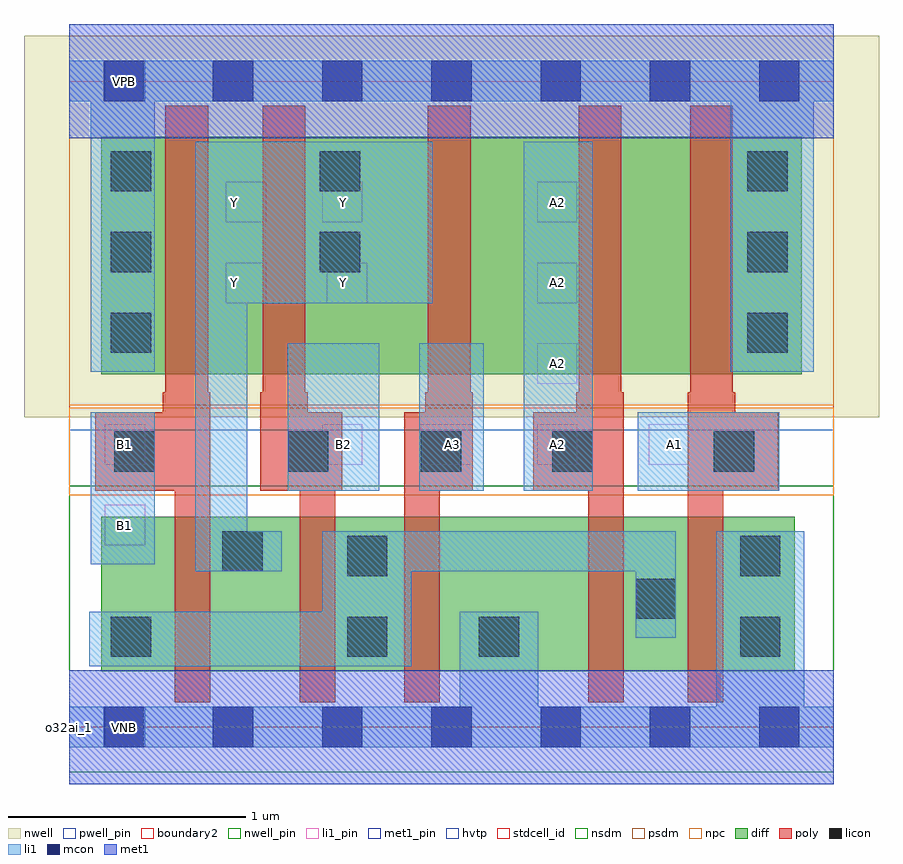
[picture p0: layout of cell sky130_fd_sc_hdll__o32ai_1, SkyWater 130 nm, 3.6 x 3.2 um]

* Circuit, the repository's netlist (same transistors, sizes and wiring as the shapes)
* Copyright 2020 The SkyWater PDK Authors
*
* Licensed under the Apache License, Version 2.0 (the "License");
* you may not use this file except in compliance with the License.
* You may obtain a copy of the License at
*
*     https://www.apache.org/licenses/LICENSE-2.0
*
* Unless required by applicable law or agreed to in writing, software
* distributed under the License is distributed on an "AS IS" BASIS,
* WITHOUT WARRANTIES OR CONDITIONS OF ANY KIND, either express or implied.
* See the License for the specific language governing permissions and
* limitations under the License.
*
* SPDX-License-Identifier: Apache-2.0

.SUBCKT sky130_fd_sc_hdll__o32ai_1 A1 A2 A3 B1 B2 VGND VNB VPB VPWR Y
*.PININFO A1:I A2:I A3:I B1:I B2:I VGND:I VNB:I VPB:I VPWR:I Y:O
MMPA0 VPWR A1 sndA1 VPB sky130_fd_pr__pfet_01v8_hvt m=1 w=1.0U l=0.18U mult=1 sa=0.265
+ sb=0.265 sd=0.28 area=0.063 perim=1.14
MMPA1 sndA1 A2 sndA2 VPB sky130_fd_pr__pfet_01v8_hvt m=1 w=1.0U l=0.18U mult=1
+ sa=0.265 sb=0.265 sd=0.28 area=0.063 perim=1.14
MMPA2 sndA2 A3 Y VPB sky130_fd_pr__pfet_01v8_hvt m=1 w=1.0U l=0.18U mult=1 sa=0.265
+ sb=0.265 sd=0.28 area=0.063 perim=1.14
MMPB0 VPWR B1 sndB1 VPB sky130_fd_pr__pfet_01v8_hvt m=1 w=1.0U l=0.18U mult=1 sa=0.265
+ sb=0.265 sd=0.28 area=0.063 perim=1.14
MMPB1 sndB1 B2 Y VPB sky130_fd_pr__pfet_01v8_hvt m=1 w=1.0U l=0.18U mult=1 sa=0.265
+ sb=0.265 sd=0.28 area=0.063 perim=1.14
MMNA0 pndA A1 VGND VNB sky130_fd_pr__nfet_01v8 m=1 w=0.65U l=0.15U mult=1 sa=0.265
+ sb=0.265 sd=0.28 area=0.063 perim=1.14
MMNA1 pndA A2 VGND VNB sky130_fd_pr__nfet_01v8 m=1 w=0.65U l=0.15U mult=1 sa=0.265
+ sb=0.265 sd=0.28 area=0.063 perim=1.14
MMNA2 pndA A3 VGND VNB sky130_fd_pr__nfet_01v8 m=1 w=0.65U l=0.15U mult=1 sa=0.265
+ sb=0.265 sd=0.28 area=0.063 perim=1.14
MMNB0 Y B1 pndA VNB sky130_fd_pr__nfet_01v8 m=1 w=0.65U l=0.15U mult=1 sa=0.265
+ sb=0.265 sd=0.28 area=0.063 perim=1.14
MMNB1 Y B2 pndA VNB sky130_fd_pr__nfet_01v8 m=1 w=0.65U l=0.15U mult=1 sa=0.265
+ sb=0.265 sd=0.28 area=0.063 perim=1.14
.ENDS sky130_fd_sc_hdll__o32ai_1

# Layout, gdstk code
import gdstk
lib = gdstk.Library(unit=1e-6, precision=1e-09)
def R(c, l, rs):  # rectangles x0, y0, x1, y1
    for r in rs: c.add(gdstk.rectangle(r[:2], r[2:], *l))
def A(c, l, x, y, w, h, nx, ny, dx, dy):  # array of equal rectangles
    R(c, l, [(x+i*dx, y+j*dy, x+i*dx+w, y+j*dy+h) for i in range(nx) for j in range(ny)])
def P(c, l, *ps):  # polygons
    for p in ps: c.add(gdstk.Polygon(p, *l))
nwell_pin = (64, 16)
nwell = (64, 20)
diff = (65, 20)
poly = (66, 20)
licon = (66, 44)
li1_pin = (67, 16)
li1 = (67, 20)
mcon = (67, 44)
met1_pin = (68, 16)
met1 = (68, 20)
hvtp = (78, 44)
stdcell_id = (81, 4)
nsdm = (93, 44)
psdm = (94, 20)
npc = (95, 20)
pwell_pin = (122, 16)
boundary2 = (236, 0)

sky130_fd_sc_hdll__o32ai = lib.new_cell('sky130_fd_sc_hdll__o32ai_1')
R(sky130_fd_sc_hdll__o32ai, nwell_pin, [(0.15,2.635,0.32,2.805)])
R(sky130_fd_sc_hdll__o32ai, nwell, [(-0.19,1.305,3.41,2.91)])
R(sky130_fd_sc_hdll__o32ai, diff, [(0.135,0.235,3.055,0.885), (0.135,1.485,3.085,2.485)])
P(sky130_fd_sc_hdll__o32ai, poly, [(0.595,1.41),(0.585,1.41),(0.585,2.615),(0.405,2.615),(0.405,1.41),(0.395,1.41),(0.395,1.325),(0.11,1.325),(0.11,0.995),(0.445,0.995),(0.445,0.105),(0.595,0.105)],
  [(1.15,1.325),(1.005,1.325),(1.005,1.41),(0.995,1.41),(0.995,2.615),(0.815,2.615),(0.815,1.41),(0.805,1.41),(0.805,0.995),(0.97,0.995),(0.97,0.105),(1.12,0.105),(1.12,0.995),(1.15,0.995)],
  [(1.7,1.41),(1.69,1.41),(1.69,2.615),(1.51,2.615),(1.51,1.41),(1.5,1.41),(1.5,1.325),(1.41,1.325),(1.41,0.105),(1.56,0.105),(1.56,0.995),(1.7,0.995)],
  [(2.335,1.41),(2.325,1.41),(2.325,2.615),(2.145,2.615),(2.145,1.41),(2.135,1.41),(2.135,1.325),(1.955,1.325),(1.955,0.995),(2.185,0.995),(2.185,0.105),(2.335,0.105)],
  [(2.985,1.325),(2.805,1.325),(2.805,1.41),(2.795,1.41),(2.795,2.615),(2.615,2.615),(2.615,1.41),(2.605,1.41),(2.605,0.105),(2.755,0.105),(2.755,0.995),(2.985,0.995)])
A(sky130_fd_sc_hdll__o32ai, licon, 0.175, 1.575, 0.17, 0.17, 1, 3, 0, 0.34)
A(sky130_fd_sc_hdll__o32ai, licon, 2.855, 1.575, 0.17, 0.17, 1, 3, 0, 0.34)
R(sky130_fd_sc_hdll__o32ai, licon, [(0.175,0.295,0.345,0.465), (1.17,0.295,1.34,0.465), (1.725,0.295,1.895,0.465), (2.825,0.295,2.995,0.465), (2.385,0.455,2.555,0.625), (1.17,0.635,1.34,0.805), (2.825,0.635,2.995,0.805), (0.645,0.655,0.815,0.825), (0.19,1.075,0.36,1.245), (0.92,1.075,1.09,1.245), (1.48,1.075,1.65,1.245), (2.035,1.075,2.205,1.245), (2.715,1.075,2.885,1.245), (1.055,1.915,1.225,2.085), (1.055,2.255,1.225,2.425)])
A(sky130_fd_sc_hdll__o32ai, li1_pin, 1.97, 1.105, 0.17, 0.17, 1, 4, 0, 0.34)
R(sky130_fd_sc_hdll__o32ai, li1_pin, [(0.15,0.765,0.32,0.935), (0.15,1.105,0.32,1.275), (1.065,1.105,1.235,1.275), (1.48,1.105,1.7,1.275), (2.44,1.105,2.61,1.275), (0.66,1.785,0.83,1.955), (1.085,1.785,1.255,1.955), (0.66,2.125,0.83,2.295), (1.065,2.125,1.235,2.295)])
R(sky130_fd_sc_hdll__o32ai, li1, [(0.09,0.685,0.36,1.325), (0.92,0.995,1.305,1.615), (1.475,0.995,1.745,1.615), (1.915,0.995,2.205,2.465), (2.395,0.995,2.99,1.325)])
P(sky130_fd_sc_hdll__o32ai, li1, [(3.22,0.085),(3.095,0.085),(3.095,0.825),(2.725,0.825),(2.725,0.085),(1.975,0.085),(1.975,0.485),(1.645,0.485),(1.645,0.085),(0,0.085),(0,-0.085),(3.22,-0.085)],
  [(3.22,2.805),(0,2.805),(0,2.635),(0.09,2.635),(0.09,1.495),(0.36,1.495),(0.36,2.635),(2.785,2.635),(2.785,1.495),(3.135,1.495),(3.135,2.635),(3.22,2.635)],
  [(2.555,0.825),(1.065,0.825),(1.065,0.485),(0.085,0.485),(0.085,0.255),(1.44,0.255),(1.44,0.655),(2.385,0.655),(2.385,0.375),(2.555,0.375)],
  [(1.53,2.465),(0.53,2.465),(0.53,0.655),(0.895,0.655),(0.895,0.825),(0.75,0.825),(0.75,1.785),(1.53,1.785)])
A(sky130_fd_sc_hdll__o32ai, mcon, 0.145, -0.085, 0.17, 0.17, 7, 2, 0.46, 2.72)
R(sky130_fd_sc_hdll__o32ai, met1_pin, [(0.15,-0.085,0.32,0.085), (0.15,2.635,0.32,2.805)])
R(sky130_fd_sc_hdll__o32ai, met1, [(0,-0.24,3.22,0.24), (0,2.48,3.22,2.96)])
R(sky130_fd_sc_hdll__o32ai, hvtp, [(0,1.25,3.22,2.72)])
R(sky130_fd_sc_hdll__o32ai, stdcell_id, [(0,0,3.22,2.72)])
R(sky130_fd_sc_hdll__o32ai, nsdm, [(0,-0.19,3.22,1.015)])
R(sky130_fd_sc_hdll__o32ai, psdm, [(0,1.355,3.22,2.91)])
R(sky130_fd_sc_hdll__o32ai, npc, [(0,0.975,3.22,1.345)])
R(sky130_fd_sc_hdll__o32ai, pwell_pin, [(0.15,-0.085,0.32,0.085)])
R(sky130_fd_sc_hdll__o32ai, boundary2, [(0,0,3.22,2.72)])
sky130_fd_sc_hdll__o32ai.add(gdstk.Label('A2', (2.055,2.21), layer=67, texttype=5))
sky130_fd_sc_hdll__o32ai.add(gdstk.Label('A2', (2.055,1.87), layer=67, texttype=5))
sky130_fd_sc_hdll__o32ai.add(gdstk.Label('A2', (2.055,1.53), layer=67, texttype=5))
sky130_fd_sc_hdll__o32ai.add(gdstk.Label('Y', (1.155,1.87), layer=67, texttype=5))
sky130_fd_sc_hdll__o32ai.add(gdstk.Label('Y', (1.155,2.21), layer=67, texttype=5))
sky130_fd_sc_hdll__o32ai.add(gdstk.Label('Y', (0.695,1.87), layer=67, texttype=5))
sky130_fd_sc_hdll__o32ai.add(gdstk.Label('Y', (0.695,2.21), layer=67, texttype=5))
sky130_fd_sc_hdll__o32ai.add(gdstk.Label('A1', (2.55,1.19), layer=67, texttype=5))
sky130_fd_sc_hdll__o32ai.add(gdstk.Label('A2', (2.055,1.19), layer=67, texttype=5))
sky130_fd_sc_hdll__o32ai.add(gdstk.Label('A3', (1.615,1.19), layer=67, texttype=5))
sky130_fd_sc_hdll__o32ai.add(gdstk.Label('B2', (1.155,1.19), layer=67, texttype=5))
sky130_fd_sc_hdll__o32ai.add(gdstk.Label('B1', (0.235,1.19), layer=67, texttype=5))
sky130_fd_sc_hdll__o32ai.add(gdstk.Label('B1', (0.235,0.85), layer=67, texttype=5))
sky130_fd_sc_hdll__o32ai.add(gdstk.Label('VPB', (0.235,2.72), layer=64, texttype=5))
sky130_fd_sc_hdll__o32ai.add(gdstk.Label('VNB', (0.235,0), layer=64, texttype=59))
sky130_fd_sc_hdll__o32ai.add(gdstk.Label('VGND', (0.235,0), layer=68, texttype=5))
sky130_fd_sc_hdll__o32ai.add(gdstk.Label('VPWR', (0.235,2.72), layer=68, texttype=5))
sky130_fd_sc_hdll__o32ai.add(gdstk.Label('o32ai_1', (0,0), layer=83, texttype=44))

lib.write_gds('sky130_fd_sc_hdll__o32ai_1.gds')
